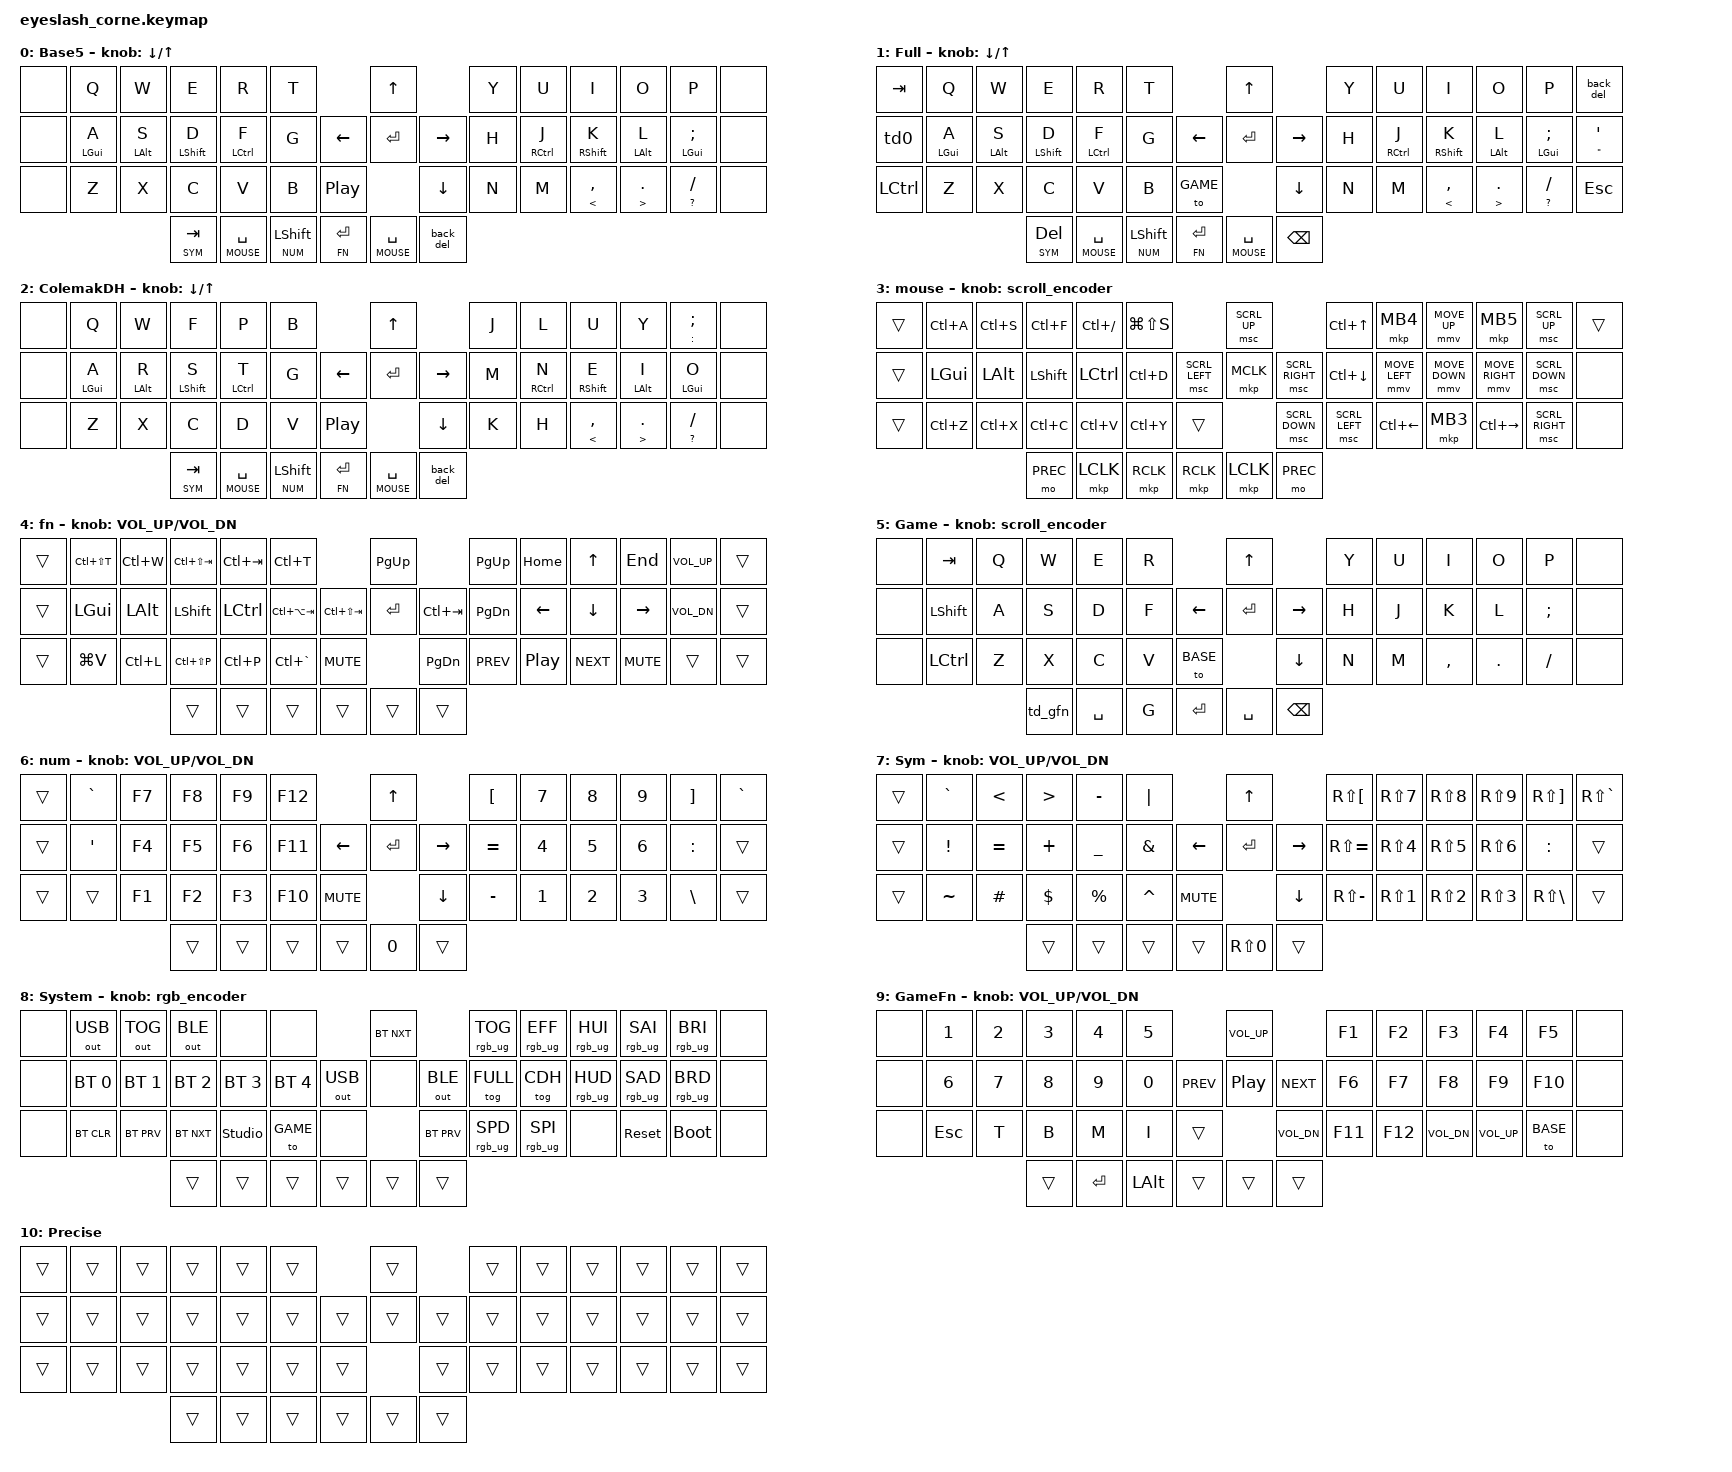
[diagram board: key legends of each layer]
#define ZMK_POINTING_DEFAULT_MOVE_VAL 1800
#define ZMK_POINTING_DEFAULT_SCRL_VAL 12

#include <input/processors.dtsi>
#include <zephyr/dt-bindings/input/input-event-codes.h>
#include <behaviors.dtsi>
#include <dt-bindings/zmk/bt.h>
#include <dt-bindings/zmk/keys.h>
#include <dt-bindings/zmk/outputs.h>
#include <dt-bindings/zmk/pointing.h>
#include <dt-bindings/zmk/rgb.h>

#define BASE 0
#define FULL 1
#define CDH 2
#define MOUSE 3
#define FN 4
#define GAME 5
#define NUM 6
#define SYM 7
#define SYS 8
#define GFN 9
#define PREC 10

// Key positions by hand, for the home row mods below.
// Left hand includes the knob push (34). Right hand includes the 5-way switch (6 19 20 21 35).
#define KEYS_L 0 1 2 3 4 5 13 14 15 16 17 18 28 29 30 31 32 33 34
#define KEYS_R 6 7 8 9 10 11 12 19 20 21 22 23 24 25 26 27 35 36 37 38 39 40 41
#define THUMBS 42 43 44 45 46 47

&mmv_input_listener {
    input-processors = <&zip_xy_scaler 1 1>;

    precise {
        layers = <PREC>;
        input-processors = <&zip_xy_scaler 1 3>;
    };
};

&msc_input_listener { input-processors = <&zip_scroll_scaler 1 1>; };

// Tap then hold a thumb key to repeat its tap (Space, Enter, Tab) instead of opening its layer
&lt { quick-tap-ms = <175>; };

&msc {
    acceleration-exponent = <1>;
    time-to-max-speed-ms = <350>;
    delay-ms = <0>;
};

&mmv {
    time-to-max-speed-ms = <400>;
    acceleration-exponent = <2>;
    delay-ms = <0>;
    trigger-period-ms = <16>;
};

/ {
    behaviors {
        back_del: back_del {
            compatible = "zmk,behavior-mod-morph";
            bindings = <&kp BACKSPACE>, <&kp DELETE>;

            #binding-cells = <0>;
            mods = <(MOD_RSFT|MOD_LSFT)>;
        };

        td0: td0 {
            compatible = "zmk,behavior-tap-dance";
            #binding-cells = <0>;
            bindings = <&kp LEFT_SHIFT>, <&caps_word>;
        };

        enc_scroll: enc_scroll {
            compatible = "zmk,behavior-input-two-axis";
            #binding-cells = <1>;
            x-input-code = <INPUT_REL_HWHEEL>;
            y-input-code = <INPUT_REL_WHEEL>;
            time-to-max-speed-ms = <300>;
            acceleration-exponent = <0>;
        };

        // Home row mods, timeless style. Hold a home row key for a modifier, tap for the letter.
        // A hold only counts when the next key is on the other hand or a thumb, and never
        // while typing fast, so same-hand rolls always stay letters.
        hml: hml {
            compatible = "zmk,behavior-hold-tap";
            #binding-cells = <2>;
            flavor = "balanced";
            tapping-term-ms = <280>;
            quick-tap-ms = <175>;
            require-prior-idle-ms = <150>;
            bindings = <&kp>, <&kp>;
            hold-trigger-key-positions = <KEYS_R THUMBS>;
            hold-trigger-on-release;
        };

        hmr: hmr {
            compatible = "zmk,behavior-hold-tap";
            #binding-cells = <2>;
            flavor = "balanced";
            tapping-term-ms = <280>;
            quick-tap-ms = <175>;
            require-prior-idle-ms = <150>;
            bindings = <&kp>, <&kp>;
            hold-trigger-key-positions = <KEYS_L THUMBS>;
            hold-trigger-on-release;
        };

        // Hold-for-symbol on comma, period, slash, semicolon and the quote combo. Prefers the tap
        // and ignores holds while typing fast, so quick rolls stay plain commas and periods
        ht_sym: ht_sym {
            compatible = "zmk,behavior-hold-tap";
            #binding-cells = <2>;
            flavor = "tap-preferred";
            tapping-term-ms = <200>;
            require-prior-idle-ms = <150>;
            bindings = <&kp>, <&kp>;
        };

        // Left inner thumb: hold = Num layer, tap = one-shot Shift (capitalizes the next key)
        ht_num_sk: ht_num_sk {
            compatible = "zmk,behavior-hold-tap";
            #binding-cells = <2>;
            flavor = "tap-preferred";
            tapping-term-ms = <200>;
            bindings = <&mo>, <&sk>;
        };

        // Game layer left outer thumb: hold = GameFn while held, double-tap = GameFn stays on
        // (double-tap again to turn it off)
        td_gfn: td_gfn {
            compatible = "zmk,behavior-tap-dance";
            #binding-cells = <0>;
            tapping-term-ms = <180>;
            bindings = <&mo GFN>, <&tog GFN>;
        };
    };

    rgb_encoder: rgb_encoder {
        compatible = "zmk,behavior-sensor-rotate";
        #sensor-binding-cells = <0>;
        bindings = <&rgb_ug RGB_BRI>, <&rgb_ug RGB_BRD>;
    };

    scroll_encoder: scroll_encoder {
        compatible = "zmk,behavior-sensor-rotate";
        #sensor-binding-cells = <0>;
        bindings = <&enc_scroll SCRL_DOWN>, <&enc_scroll SCRL_UP>;

        tap-ms = <100>;
    };

    enc_scroll_listener {
        compatible = "zmk,input-listener";
        device = <&enc_scroll>;
    };

    conditional_layers {
        compatible = "zmk,conditional-layers";

        sys_combo_layer {
            if-layers = <FN NUM>;
            then-layer = <SYS>;
        };
    };

    combos {
        compatible = "zmk,combos";

        combo_esc {
            bindings = <&kp ESCAPE>;
            key-positions = <1 2>;
            layers = <BASE FULL CDH>;
            require-prior-idle-ms = <150>;
        };

        combo_leftLP {
            bindings = <&kp LEFT_PARENTHESIS>;
            key-positions = <17 18>;
            layers = <BASE FULL CDH>;
            require-prior-idle-ms = <150>;
        };

        combo_rightPT {
            bindings = <&kp RIGHT_PARENTHESIS>;
            key-positions = <22 23>;
            layers = <BASE FULL CDH>;
            require-prior-idle-ms = <150>;
        };

        combo_leftBR {
            bindings = <&kp LEFT_BRACE>;
            key-positions = <32 33>;
            layers = <BASE FULL CDH>;
            require-prior-idle-ms = <150>;
        };

        combo_rightBR {
            bindings = <&kp RIGHT_BRACE>;
            key-positions = <36 37>;
            layers = <BASE FULL CDH>;
            require-prior-idle-ms = <150>;
        };

        combo_leftBT {
            bindings = <&kp LEFT_BRACKET>;
            key-positions = <4 5>;
            layers = <BASE FULL CDH>;
            require-prior-idle-ms = <150>;
        };

        combo_rightBT {
            bindings = <&kp RIGHT_BRACKET>;
            key-positions = <7 8>;
            layers = <BASE FULL CDH>;
            require-prior-idle-ms = <150>;
        };

        combo_backslash {
            bindings = <&kp BACKSLASH>;
            key-positions = <39 40>;
            layers = <BASE FULL CDH>;
            require-prior-idle-ms = <150>;
        };

        combo_pipe {
            bindings = <&kp PIPE>;
            key-positions = <38 39>;
            layers = <BASE FULL CDH>;
            require-prior-idle-ms = <150>;
        };

        combo_quote {
            bindings = <&ht_sym DOUBLE_QUOTES APOS>;
            key-positions = <10 11>;
            layers = <BASE FULL CDH>;
            require-prior-idle-ms = <150>;
        };

        LeftControl {
            bindings = <&kp LCTRL>;
            key-positions = <14 15>;
            layers = <BASE FULL CDH>;
        };

        LeftShift {
            bindings = <&td0>;
            key-positions = <15 16>;
            layers = <BASE FULL CDH>;
        };

        LeftAlt {
            bindings = <&kp LEFT_ALT>;
            key-positions = <16 17>;
            layers = <BASE FULL CDH>;
        };

        LeftGUI {
            bindings = <&kp LEFT_WIN>;
            key-positions = <14 17>;
            layers = <BASE FULL CDH>;
        };

        RightShift {
            bindings = <&td0>;
            key-positions = <24 25>;
            layers = <BASE FULL CDH>;
        };

        RightControl {
            bindings = <&kp RCTRL>;
            key-positions = <25 26>;
            layers = <BASE FULL CDH>;
        };

        RightAlt {
            bindings = <&kp RIGHT_ALT>;
            key-positions = <23 24>;
            layers = <BASE FULL CDH>;
        };

        RightGUI {
            bindings = <&kp LEFT_WIN>;
            key-positions = <23 26>;
            layers = <BASE FULL CDH>;
        };
    };

    keymap {
        compatible = "zmk,keymap";

        base5_layer {
            display-name = "Base5";
            bindings = <
&none  &kp Q  &kp W  &kp E  &kp R  &kp T               &kp UP                  &kp Y  &kp U  &kp I                    &kp O                        &kp P                   &none
&none  &hml LGUI A  &hml LALT S  &hml LSHFT D  &hml LCTRL F  &kp G    &kp LEFT   &kp ENTER  &kp RIGHT    &kp H  &hmr RCTRL J  &hmr RSHFT K  &hmr LALT L  &hmr LGUI SEMI      &none
&none  &kp Z  &kp X  &kp C  &kp V  &kp B    &kp C_PP              &kp DOWN     &kp N  &kp M  &ht_sym LESS_THAN COMMA  &ht_sym GREATER_THAN PERIOD  &ht_sym QUESTION SLASH  &none
                     &lt SYM TAB  &lt MOUSE SPACE  &ht_num_sk NUM LSHFT      &lt FN RETURN  &lt MOUSE SPACE  &back_del
            >;

            sensor-bindings = <&inc_dec_kp DOWN UP>;
        };

        full_layer {
            display-name = "Full";
            bindings = <
&kp TAB           &kp Q  &kp W  &kp E  &kp R  &kp T               &kp UP                  &kp Y  &kp U  &kp I                    &kp O                        &kp P                   &back_del
&td0              &hml LGUI A  &hml LALT S  &hml LSHFT D  &hml LCTRL F  &kp G    &kp LEFT   &kp ENTER  &kp RIGHT    &kp H  &hmr RCTRL J  &hmr RSHFT K  &hmr LALT L  &hmr LGUI SEMI      &ht_sym DOUBLE_QUOTES APOS
&kp LEFT_CONTROL  &kp Z  &kp X  &kp C  &kp V  &kp B    &to GAME              &kp DOWN     &kp N  &kp M  &ht_sym LESS_THAN COMMA  &ht_sym GREATER_THAN PERIOD  &ht_sym QUESTION SLASH  &kp ESCAPE
                                &lt SYM DELETE  &lt MOUSE SPACE  &ht_num_sk NUM LSHFT      &lt FN RETURN  &lt MOUSE SPACE  &kp BACKSPACE
            >;

            sensor-bindings = <&inc_dec_kp DOWN UP>;
        };

        colemak_dh_layer {
            display-name = "ColemakDH";
            bindings = <
&none  &kp Q  &kp W  &kp F  &kp P  &kp B               &kp UP                  &kp J  &kp L  &kp U                    &kp Y                        &ht_sym COLON SEMI      &none
&none  &hml LGUI A  &hml LALT R  &hml LSHFT S  &hml LCTRL T  &kp G    &kp LEFT   &kp ENTER  &kp RIGHT    &kp M  &hmr RCTRL N  &hmr RSHFT E  &hmr LALT I  &hmr LGUI O                   &none
&none  &kp Z  &kp X  &kp C  &kp D  &kp V    &kp C_PP              &kp DOWN     &kp K  &kp H  &ht_sym LESS_THAN COMMA  &ht_sym GREATER_THAN PERIOD  &ht_sym QUESTION SLASH  &none
                     &lt SYM TAB  &lt MOUSE SPACE  &ht_num_sk NUM LSHFT      &lt FN RETURN  &lt MOUSE SPACE  &back_del
            >;

            sensor-bindings = <&inc_dec_kp DOWN UP>;
        };

        mouse_layer {
            display-name = "mouse";
            bindings = <
&trans  &kp LC(A)  &kp LC(S)  &kp LC(F)  &kp LC(FSLH)  &kp LG(LS(S))                     &msc SCRL_UP                        &kp LC(UP)      &mkp MB4        &mmv MOVE_UP    &mkp MB5         &msc SCRL_UP     &trans
&trans  &kp LGUI   &kp LALT   &kp LSHFT  &kp LCTRL     &kp LC(D)        &msc SCRL_LEFT   &mkp MCLK        &msc SCRL_RIGHT    &kp LC(DOWN)    &mmv MOVE_LEFT  &mmv MOVE_DOWN  &mmv MOVE_RIGHT  &msc SCRL_DOWN   &none
&trans  &kp LC(Z)  &kp LC(X)  &kp LC(C)  &kp LC(V)     &kp LC(Y)        &trans                            &msc SCRL_DOWN     &msc SCRL_LEFT  &kp LC(LEFT)    &mkp MB3        &kp LC(RIGHT)    &msc SCRL_RIGHT  &none
                              &mo PREC  &mkp LCLK  &mkp RCLK      &mkp RCLK  &mkp LCLK  &mo PREC
            >;

            sensor-bindings = <&scroll_encoder>;
        };

        fn_layer {
            display-name = "fn";
            bindings = <
&trans  &kp LC(LS(T))  &kp LC(W)  &kp LC(LS(TAB))  &kp LC(TAB)  &kp LC(T)                           &kp PG_UP                           &kp PG_UP   &kp HOME  &kp UP      &kp END     &kp C_VOL_UP  &trans
&trans  &kp LGUI       &kp LALT   &kp LSHFT        &kp LCTRL    &kp LC(LA(TAB))    &kp LC(LS(TAB))  &kp ENTER        &kp LC(TAB)        &kp PG_DN   &kp LEFT  &kp DOWN    &kp RIGHT   &kp C_VOL_DN  &trans
&trans  &kp LG(V)      &kp LC(L)  &kp LC(LS(P))    &kp LC(P)    &kp LC(GRAVE)      &kp C_MUTE                        &kp PG_DN          &kp C_PREV  &kp C_PP  &kp C_NEXT  &kp C_MUTE  &trans        &trans
                                  &trans  &trans  &trans      &trans  &trans  &trans
            >;

            sensor-bindings = <&inc_dec_kp C_VOLUME_UP C_VOL_DN>;
        };

        gaming_layer {
            display-name = "Game";
            bindings = <
&none  &kp TAB    &kp Q  &kp W  &kp E  &kp R               &kp UP                  &kp Y  &kp U  &kp I      &kp O    &kp P     &none
&none  &kp LSHFT  &kp A  &kp S  &kp D  &kp F    &kp LEFT   &kp ENTER  &kp RIGHT    &kp H  &kp J  &kp K      &kp L    &kp SEMI  &none
&none  &kp LCTRL  &kp Z  &kp X  &kp C  &kp V    &to BASE              &kp DOWN     &kp N  &kp M  &kp COMMA  &kp DOT  &kp FSLH  &none
                         &td_gfn  &kp SPACE  &kp G      &kp RET  &kp SPACE  &kp BSPC
            >;

            sensor-bindings = <&scroll_encoder>;
        };

        numpad_layer {
            display-name = "num";
            bindings = <
&trans  &kp GRAVE  &kp F7  &kp F8  &kp F9  &kp F12                &kp UP                    &kp LBKT   &kp N7  &kp N8  &kp N9  &kp RBKT       &kp GRAVE
&trans  &kp APOS   &kp F4  &kp F5  &kp F6  &kp F11    &kp LEFT    &kp ENTER   &kp RIGHT     &kp EQUAL  &kp N4  &kp N5  &kp N6  &kp COLON      &trans
&trans  &trans     &kp F1  &kp F2  &kp F3  &kp F10    &kp C_MUTE              &kp DOWN      &kp MINUS  &kp N1  &kp N2  &kp N3  &kp BACKSLASH  &trans
                           &trans  &trans  &trans      &trans  &kp N0  &trans
            >;

            sensor-bindings = <&inc_dec_kp C_VOLUME_UP C_VOL_DN>;
        };

        sym_layer {
            display-name = "Sym";
            bindings = <
&trans  &kp GRAVE  &kp LESS_THAN  &kp GREATER_THAN  &kp MINUS  &kp PIPE                 &kp UP                    &kp RS(LBKT)   &kp RS(N7)  &kp RS(N8)  &kp RS(N9)  &kp RS(RBKT)       &kp RS(GRAVE)
&trans  &kp EXCL   &kp EQUAL      &kp PLUS          &kp UNDER  &kp AMPS     &kp LEFT    &kp ENTER   &kp RIGHT     &kp RS(EQUAL)  &kp RS(N4)  &kp RS(N5)  &kp RS(N6)  &kp COLON          &trans
&trans  &kp TILDE  &kp HASH       &kp DOLLAR        &kp PRCNT  &kp CARET    &kp C_MUTE              &kp DOWN      &kp RS(MINUS)  &kp RS(N1)  &kp RS(N2)  &kp RS(N3)  &kp RS(BACKSLASH)  &trans
                                  &trans  &trans  &trans      &trans  &kp RS(N0)  &trans
            >;

            sensor-bindings = <&inc_dec_kp C_VOLUME_UP C_VOL_DN>;
        };

        system_layer {
            display-name = "System";
            bindings = <
&none  &out OUT_USB  &out OUT_TOG  &out OUT_BLE  &none           &none                         &bt BT_NXT                    &rgb_ug RGB_TOG  &rgb_ug RGB_EFF  &rgb_ug RGB_HUI  &rgb_ug RGB_SAI  &rgb_ug RGB_BRI  &none
&none  &bt BT_SEL 0  &bt BT_SEL 1  &bt BT_SEL 2  &bt BT_SEL 3    &bt BT_SEL 4    &out OUT_USB  &none         &out OUT_BLE    &tog FULL        &tog CDH         &rgb_ug RGB_HUD  &rgb_ug RGB_SAD  &rgb_ug RGB_BRD  &none
&none  &bt BT_CLR    &bt BT_PRV    &bt BT_NXT    &studio_unlock  &to GAME        &none                       &bt BT_PRV      &rgb_ug RGB_SPD  &rgb_ug RGB_SPI  &none            &sys_reset       &bootloader      &none
                                   &trans  &trans  &trans      &trans  &trans  &trans
            >;

            sensor-bindings = <&rgb_encoder>;
        };

        game_fn_layer {
            display-name = "GameFn";
            bindings = <
&none  &kp N1   &kp N2  &kp N3  &kp N4  &kp N5                  &kp C_VOL_UP                  &kp F1   &kp F2   &kp F3        &kp F4        &kp F5    &none
&none  &kp N6   &kp N7  &kp N8  &kp N9  &kp N0    &kp C_PREV    &kp C_PP      &kp C_NEXT      &kp F6   &kp F7   &kp F8        &kp F9        &kp F10   &none
&none  &kp ESC  &kp T   &kp B   &kp M   &kp I     &trans                      &kp C_VOL_DN    &kp F11  &kp F12  &kp C_VOL_DN  &kp C_VOL_UP  &to BASE  &none
                        &trans  &kp ENTER  &kp LALT      &trans  &trans  &trans
            >;

            sensor-bindings = <&inc_dec_kp C_VOLUME_UP C_VOL_DN>;
        };

        precise_layer {
            display-name = "Precise";
            bindings = <
&trans  &trans  &trans  &trans  &trans  &trans                  &trans                  &trans  &trans  &trans  &trans  &trans  &trans
&trans  &trans  &trans  &trans  &trans  &trans          &trans  &trans  &trans          &trans  &trans  &trans  &trans  &trans  &trans
&trans  &trans  &trans  &trans  &trans  &trans          &trans          &trans          &trans  &trans  &trans  &trans  &trans  &trans
                                &trans  &trans  &trans                                  &trans  &trans  &trans
            >;
        };
    };
};
